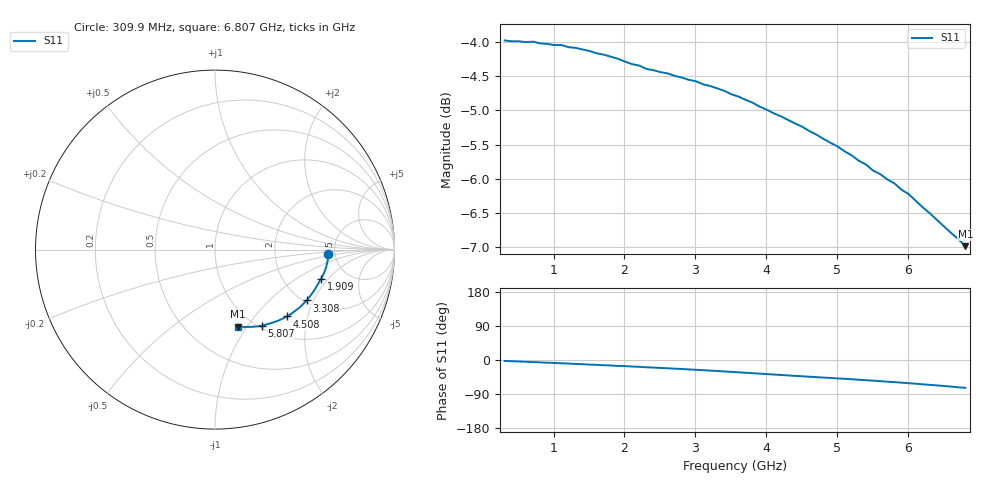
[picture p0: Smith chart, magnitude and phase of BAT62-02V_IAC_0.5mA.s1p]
! Infineon Technologies  Discrete & RF Semiconductors
! BAT62-02V
! IAC = 0.5 mA
! One-Port S-Parameters
# Hz  S  MA  R  50
!f  S11
!Hz  Mag  Ang
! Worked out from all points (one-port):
!   66 points, 309.9 MHz to 6.807 GHz, reference 50 ohm
!   lowest |S11| = -7.0 dB at 6.807 GHz (marker M1), VSWR 2.62, Z = 42.3 - j45.4 ohm
!   |S11| at or under -10 dB: nowhere
!   S11 on the Smith chart (normalised r, x): 309.9 MHz: 4.41, -0.39; 1.909 GHz: 3.20, -1.70; 3.308 GHz: 2.06, -1.77; 4.508 GHz: 1.41, -1.50; 5.807 GHz: 1.03, -1.17; 6.807 GHz: 0.85, -0.91
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3.0985e8  0.6326 -2.4
7.0965e8  0.6313 -5.4
1.10945e9  0.6278 -8.7
1.2094e9  0.6255 -9.4
1.30935e9  0.6248 -10.3
1.4093e9  0.623 -11.0
1.50925e9  0.6215 -12.1
1.6092e9  0.619 -12.7
1.70915e9  0.6176 -13.8
1.8091e9  0.6155 -14.5
1.90905e9  0.6133 -15.7
2.009e9  0.6104 -16.2
2.10895e9  0.6079 -17.3
2.2089e9  0.6064 -18.0
2.30885e9  0.603 -19.2
2.4088e9  0.6017 -19.9
2.8086e9  0.5943 -23.8
3.30835e9  0.5836 -29.0
3.6082e9  0.5756 -32.5
4.2079e9  0.5567 -39.6
4.4078e9  0.5501 -42.0
4.50775e9  0.5471 -42.9
4.8076e9  0.536 -46.4
5.2074e9  0.5212 -50.9
5.8071e9  0.4974 -58.5
6.007e9  0.4885 -61.2
6.50675e9  0.4626 -68.7
6.8066e9  0.4476 -73.5
